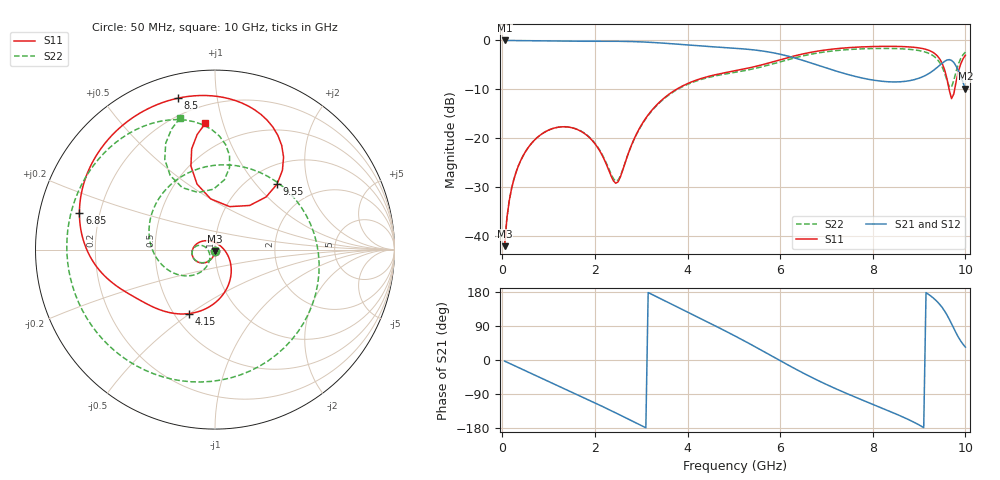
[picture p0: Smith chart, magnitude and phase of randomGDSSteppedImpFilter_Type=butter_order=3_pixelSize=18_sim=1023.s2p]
! freq	dB(S11)	phase(S11)	dB(S12)	phase(S12)
!  dB(S21)	phase(S21)	dB(S22)	phase(S22)
!S-par simulation data
#  GHz  S  DB  R 50
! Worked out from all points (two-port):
!   200 points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, 50 MHz to 10 GHz, reference 50 ohm
!   highest |S21| = -0.01 dB at 50 MHz (marker M1); lowest = -9.9 dB at 10 GHz (marker M2)
!   |S21| within 3 dB of the highest: start of sweep to 6.08 GHz
!   lowest |S11| = -42.2 dB at 50 MHz (marker M3), VSWR 1.02, Z = 50 - j0.78 ohm
!   |S11| at or under -10 dB: start of sweep to 3.764 GHz; 9.648 GHz to 9.769 GHz (121.1 MHz wide, 1.25 % of centre)
!   |S22| runs from -42.2 to -1.6 dB; largest |S21 - S12| = 0
!   S11 on the Smith chart (normalised r, x): 50 MHz: 1.00, -0.02; 4.15 GHz: 0.59, -0.49; 6.85 GHz: 0.12, +0.13; 8.5 GHz: 0.11, +0.78; 9.55 GHz: 1.33, +1.30; 10 GHz: 0.31, +0.88
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0.05  -42.16 -90.4  -0.01 -2.9  -0.01 -2.9  -42.17 -90.4
0.2  -30.37 -101.0  -0.02 -11.4  -0.02 -11.4  -30.37 -101.5
0.55  -22.09 -121.0  -0.06 -31.3  -0.06 -31.3  -22.09 -122.0
1.15  -17.90 -155.2  -0.15 -65.0  -0.15 -65.0  -17.89 -155.9
1.75  -18.92 167.8  -0.17 -98.8  -0.17 -98.8  -18.87 173.3
2.45  -29.27 59.4  -0.17 -139.6  -0.17 -139.6  -28.84 -161.7
2.95  -18.23 -44.0  -0.28 -169.8  -0.28 -169.8  -18.33 -118.2
3.4  -12.60 -75.1  -0.51 162.8  -0.51 162.8  -12.72 -141.1
4.15  -8.27 -112.4  -1.04 117.3  -1.04 117.3  -8.44 166.2
5.05  -6.18 -142.8  -1.62 61.8  -1.62 61.8  -6.50 86.1
5.45  -5.37 -152.7  -1.96 35.6  -1.96 35.6  -5.76 43.0
5.9  -4.24 -163.9  -2.63 5.1  -2.63 5.1  -4.65 -7.5
6.7  -2.37 170.3  -4.72 -47.0  -4.72 -47.0  -2.76 -87.4
6.85  -2.13 164.9  -5.19 -56.0  -5.19 -56.0  -2.52 -100.2
7.6  -1.41 137.6  -7.33 -96.8  -7.33 -96.8  -1.80 -155.6
8.35  -1.21 109.7  -8.48 -134.5  -8.48 -134.5  -1.65 157.3
8.5  -1.22 103.9  -8.51 -142.3  -8.51 -142.3  -1.67 148.2
9.15  -1.84 74.1  -7.11 177.7  -7.11 177.7  -2.43 106.5
9.55  -5.98 46.5  -4.30 129.5  -4.30 129.5  -6.66 79.9
9.7  -11.93 71.1  -4.08 95.8  -4.08 95.8  -9.59 106.4
9.85  -6.30 106.1  -6.25 60.0  -6.25 60.0  -4.81 119.1
10  -3.03 94.4  -9.91 33.9  -9.91 33.9  -2.39 104.7
